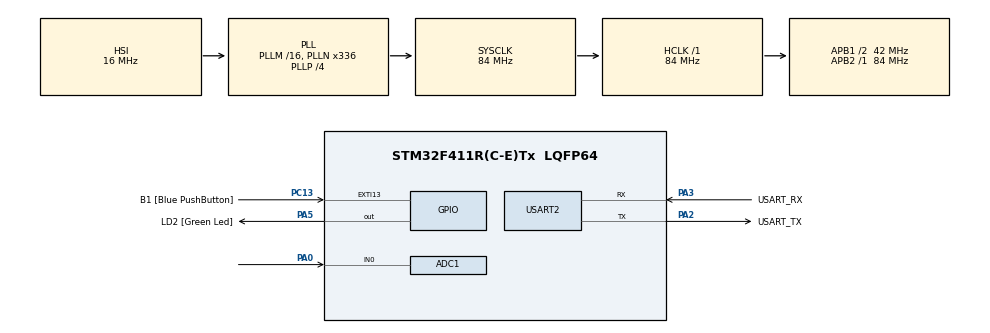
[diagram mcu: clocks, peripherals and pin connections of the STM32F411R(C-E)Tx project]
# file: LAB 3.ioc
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Mcu.Family=STM32F4
PC15-OSC32_OUT.Mode=LSE-External-Oscillator
RCC.CortexFreq_Value=84000000
ADC1.Rank-0\#ChannelRegularConversion=1
VP_ADC1_TempSens_Input.Mode=IN-TempSens
PC13-ANTI_TAMP.GPIO_Label=B1 [Blue PushButton]
PA14.GPIO_Label=TCK
PH1\ -\ OSC_OUT.Mode=HSE-External-Clock-Source
RCC.APB1CLKDivider=RCC_HCLK_DIV2
PC14-OSC32_IN.Signal=RCC_OSC32_IN
RCC.SYSCLKSource=RCC_SYSCLKSOURCE_PLLCLK
ProjectManager.StackSize=0x400
PA0-WKUP.Signal=ADCx_IN0
PA13.Signal=SYS_JTMS-SWDIO
PA3.Mode=Asynchronous
PH0\ -\ OSC_IN.Mode=HSE-External-Clock-Source
PH0\ -\ OSC_IN.Signal=RCC_OSC_IN
ProjectManager.TargetToolchain=STM32CubeIDE
RCC.HCLKFreq_Value=84000000
RCC.APB2TimFreq_Value=84000000
PC15-OSC32_OUT.Signal=RCC_OSC32_OUT
RCC.AHBFreq_Value=84000000
PA5.Signal=GPIO_Output
ADC1.Channel-0\#ChannelRegularConversion=ADC_CHANNEL_0
RCC.HSE_VALUE=8000000
PH1\ -\ OSC_OUT.Signal=RCC_OSC_OUT
board=NUCLEO-F411RE
PC13-ANTI_TAMP.Signal=GPXTI13
RCC.VCOOutputFreq_Value=336000000
RCC.APB2Freq_Value=84000000
PC14-OSC32_IN.Mode=LSE-External-Oscillator
PA14.Mode=Serial_Wire
SH.ADCx_IN0.0=ADC1_IN0,IN0
PA13.Mode=Serial_Wire
Mcu.Name=STM32F411R(C-E)Tx
ADC1.SamplingTime-0\#ChannelRegularConversion=ADC_SAMPLETIME_3CYCLES
PA2.Signal=USART2_TX
PA13.GPIO_Label=TMS
RCC.FLatency-AdvancedSettings=FLASH_LATENCY_2
RCC.48MHZClocksFreq_Value=84000000
PB3.Signal=SYS_JTDO-SWO
RCC.SYSCLKFreq_VALUE=84000000
Mcu.Package=LQFP64
ADC1.master=1
PA5.GPIO_Label=LD2 [Green Led]
USART2.VirtualMode=VM_ASYNC
PC13-ANTI_TAMP.GPIO_ModeDefaultEXTI=GPIO_MODE_IT_FALLING
PA2.GPIO_Label=USART_TX
PA14.Signal=SYS_JTCK-SWCLK
ProjectManager.HeapSize=0x200
RCC.HSI_VALUE=16000000
RCC.PLLP=RCC_PLLP_DIV4
NVIC.PriorityGroup=NVIC_PRIORITYGROUP_0
ADC1.NbrOfConversionFlag=1
RCC.PLLN=336
RCC.APB1TimFreq_Value=84000000
PA2.Mode=Asynchronous
RCC.APB1Freq_Value=42000000
PA3.GPIO_Label=USART_RX
PA3.Signal=USART2_RX
PB3.GPIO_Label=SWO

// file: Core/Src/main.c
/* USER CODE BEGIN Header */
/**
  ******************************************************************************
  * @file           : main.c
  * @brief          : Main program body
  ******************************************************************************
  * @attention
  *
  * <h2><center>&copy; Copyright (c) 2021 STMicroelectronics.
  * All rights reserved.</center></h2>
  *
  * This software component is licensed by ST under BSD 3-Clause license,
  * the "License"; You may not use this file except in compliance with the
  * License. You may obtain a copy of the License at:
  *                        opensource.org/licenses/BSD-3-Clause
  *
  ******************************************************************************
  */
/* USER CODE END Header */
#include "main.h"

ADC_HandleTypeDef hadc1;

UART_HandleTypeDef huart2;

/* USER CODE BEGIN PV */
typedef struct {
	ADC_ChannelConfTypeDef Config;
	uint32_t data;
} ADCStructure;

ADCStructure ADCChannel[2] = { 0 };

float ADCOutputConverted = 0;
uint8_t ADCMode = 0 ;
/* USER CODE END PV */

void SystemClock_Config(void);
static void MX_GPIO_Init(void);
static void MX_USART2_UART_Init(void);
static void MX_ADC1_Init(void);
/* USER CODE BEGIN PFP */
void ADCPollingMethodInit();
void ADCPollingMethodUpdate();
/* USER CODE END PFP */

int main(void)
{

  /* MCU Configuration--------------------------------------------------------*/

  /* Reset of all peripherals, Initializes the Flash interface and the Systick. */
  HAL_Init();

  /* Configure the system clock */
  SystemClock_Config();

  /* Initialize all configured peripherals */
  MX_GPIO_Init();
  MX_USART2_UART_Init();
  MX_ADC1_Init();
  /* USER CODE BEGIN 2 */
  ADCPollingMethodInit();
uint8_t Button[2]={0};
  /* USER CODE END 2 */

  /* Infinite loop */
  while (1)
  {

    /* USER CODE BEGIN 3 */
	  ADCPollingMethodUpdate();

	  //Check Button
	  Button[0]=HAL_GPIO_ReadPin(GPIOC, GPIO_PIN_13);
	  if(Button[1]==1 && Button[0]==0)
	  {
		  if(ADCMode == 0)
		  {
			  ADCMode=1;
		  }
		  else{
			  ADCMode=0;
		  }
	  }
	  Button[1]=Button[0];

	  if(ADCMode == 0)
	  {

		  ADCOutputConverted =((ADCChannel[0].data* 3.3)/ 4096.0)/0.001;
	  }
	  else
	  {
		  ADCOutputConverted=(((((ADCChannel[1].data* 3.3)/ 4096.0)/0.001)-760.0)/2.5)+25.0;
	  }
  }
  /* USER CODE END 3 */
}

void SystemClock_Config(void)
{
  RCC_OscInitTypeDef RCC_OscInitStruct = {0};
  RCC_ClkInitTypeDef RCC_ClkInitStruct = {0};

  /** Configure the main internal regulator output voltage
  */
  __HAL_RCC_PWR_CLK_ENABLE();
  __HAL_PWR_VOLTAGESCALING_CONFIG(PWR_REGULATOR_VOLTAGE_SCALE1);
  /** Initializes the RCC Oscillators according to the specified parameters
  * in the RCC_OscInitTypeDef structure.
  */
  RCC_OscInitStruct.OscillatorType = RCC_OSCILLATORTYPE_HSI;
  RCC_OscInitStruct.HSIState = RCC_HSI_ON;
  RCC_OscInitStruct.HSICalibrationValue = RCC_HSICALIBRATION_DEFAULT;
  RCC_OscInitStruct.PLL.PLLState = RCC_PLL_ON;
  RCC_OscInitStruct.PLL.PLLSource = RCC_PLLSOURCE_HSI;
  RCC_OscInitStruct.PLL.PLLM = 16;
  RCC_OscInitStruct.PLL.PLLN = 336;
  RCC_OscInitStruct.PLL.PLLP = RCC_PLLP_DIV4;
  RCC_OscInitStruct.PLL.PLLQ = 4;
  if (HAL_RCC_OscConfig(&RCC_OscInitStruct) != HAL_OK)
  {
    Error_Handler();
  }
  /** Initializes the CPU, AHB and APB buses clocks
  */
  RCC_ClkInitStruct.ClockType = RCC_CLOCKTYPE_HCLK|RCC_CLOCKTYPE_SYSCLK
                              |RCC_CLOCKTYPE_PCLK1|RCC_CLOCKTYPE_PCLK2;
  RCC_ClkInitStruct.SYSCLKSource = RCC_SYSCLKSOURCE_PLLCLK;
  RCC_ClkInitStruct.AHBCLKDivider = RCC_SYSCLK_DIV1;
  RCC_ClkInitStruct.APB1CLKDivider = RCC_HCLK_DIV2;
  RCC_ClkInitStruct.APB2CLKDivider = RCC_HCLK_DIV1;

  if (HAL_RCC_ClockConfig(&RCC_ClkInitStruct, FLASH_LATENCY_2) != HAL_OK)
  {
    Error_Handler();
  }
}

static void MX_ADC1_Init(void)
{

  ADC_ChannelConfTypeDef sConfig = {0};

  /** Configure the global features of the ADC (Clock, Resolution, Data Alignment and number of conversion)
  */
  hadc1.Instance = ADC1;
  hadc1.Init.ClockPrescaler = ADC_CLOCK_SYNC_PCLK_DIV4;
  hadc1.Init.Resolution = ADC_RESOLUTION_12B;
  hadc1.Init.ScanConvMode = DISABLE;
  hadc1.Init.ContinuousConvMode = DISABLE;
  hadc1.Init.DiscontinuousConvMode = DISABLE;
  hadc1.Init.ExternalTrigConvEdge = ADC_EXTERNALTRIGCONVEDGE_NONE;
  hadc1.Init.ExternalTrigConv = ADC_SOFTWARE_START;
  hadc1.Init.DataAlign = ADC_DATAALIGN_RIGHT;
  hadc1.Init.NbrOfConversion = 1;
  hadc1.Init.DMAContinuousRequests = DISABLE;
  hadc1.Init.EOCSelection = ADC_EOC_SINGLE_CONV;
  if (HAL_ADC_Init(&hadc1) != HAL_OK)
  {
    Error_Handler();
  }
  /** Configure for the selected ADC regular channel its corresponding rank in the sequencer and its sample time.
  */
  sConfig.Channel = ADC_CHANNEL_0;
  sConfig.Rank = 1;
  sConfig.SamplingTime = ADC_SAMPLETIME_3CYCLES;
  if (HAL_ADC_ConfigChannel(&hadc1, &sConfig) != HAL_OK)
  {
    Error_Handler();
  }

}

static void MX_USART2_UART_Init(void)
{

  huart2.Instance = USART2;
  huart2.Init.BaudRate = 115200;
  huart2.Init.WordLength = UART_WORDLENGTH_8B;
  huart2.Init.StopBits = UART_STOPBITS_1;
  huart2.Init.Parity = UART_PARITY_NONE;
  huart2.Init.Mode = UART_MODE_TX_RX;
  huart2.Init.HwFlowCtl = UART_HWCONTROL_NONE;
  huart2.Init.OverSampling = UART_OVERSAMPLING_16;
  if (HAL_UART_Init(&huart2) != HAL_OK)
  {
    Error_Handler();
  }

}

static void MX_GPIO_Init(void)
{
  GPIO_InitTypeDef GPIO_InitStruct = {0};

  /* GPIO Ports Clock Enable */
  __HAL_RCC_GPIOC_CLK_ENABLE();
  __HAL_RCC_GPIOH_CLK_ENABLE();
  __HAL_RCC_GPIOA_CLK_ENABLE();
  __HAL_RCC_GPIOB_CLK_ENABLE();

  /*Configure GPIO pin Output Level */
  HAL_GPIO_WritePin(LD2_GPIO_Port, LD2_Pin, GPIO_PIN_RESET);

  /*Configure GPIO pin : B1_Pin */
  GPIO_InitStruct.Pin = B1_Pin;
  GPIO_InitStruct.Mode = GPIO_MODE_IT_FALLING;
  GPIO_InitStruct.Pull = GPIO_NOPULL;
  HAL_GPIO_Init(B1_GPIO_Port, &GPIO_InitStruct);

  /*Configure GPIO pin : LD2_Pin */
  GPIO_InitStruct.Pin = LD2_Pin;
  GPIO_InitStruct.Mode = GPIO_MODE_OUTPUT_PP;
  GPIO_InitStruct.Pull = GPIO_NOPULL;
  GPIO_InitStruct.Speed = GPIO_SPEED_FREQ_LOW;
  HAL_GPIO_Init(LD2_GPIO_Port, &GPIO_InitStruct);

}

/* USER CODE BEGIN 4 */
void ADCPollingMethodInit() {
	//config all ADC Channel
	ADCChannel[0].Config.Channel = ADC_CHANNEL_0;
	ADCChannel[0].Config.Rank = 1;
	ADCChannel[0].Config.SamplingTime = ADC_SAMPLETIME_3CYCLES;

	ADCChannel[1].Config.Channel = ADC_CHANNEL_TEMPSENSOR;
	ADCChannel[1].Config.Rank = 1;
	ADCChannel[1].Config.SamplingTime = ADC_SAMPLETIME_3CYCLES;
}

//Polling Method
void ADCPollingMethodUpdate() {
	//Read all 3 Channel//0,1
	for (int i = 0; i < 2; i++) {
		//select channel
		HAL_ADC_ConfigChannel(&hadc1, &ADCChannel[i].Config);
		//ADC sampling ,convert
		HAL_ADC_Start(&hadc1);

		if(HAL_ADC_PollForConversion(&hadc1, 10)==HAL_OK){
			//�?ั�?CPUรอ�?า�?เ�?ิ�?�?�?,ถ�?าCPUรอ�?า�?�?ม�?เ�?ิ�?10ms �?ะ return HAL_K

			//Get value
		ADCChannel[i].data = HAL_ADC_GetValue(&hadc1);
		}//stop
		HAL_ADC_Stop(&hadc1);
	}
}
/* USER CODE END 4 */

void Error_Handler(void)
{
  __disable_irq();
  while (1)
  {
  }
}

/************************ (C) COPYRIGHT STMicroelectronics *****END OF FILE****/
